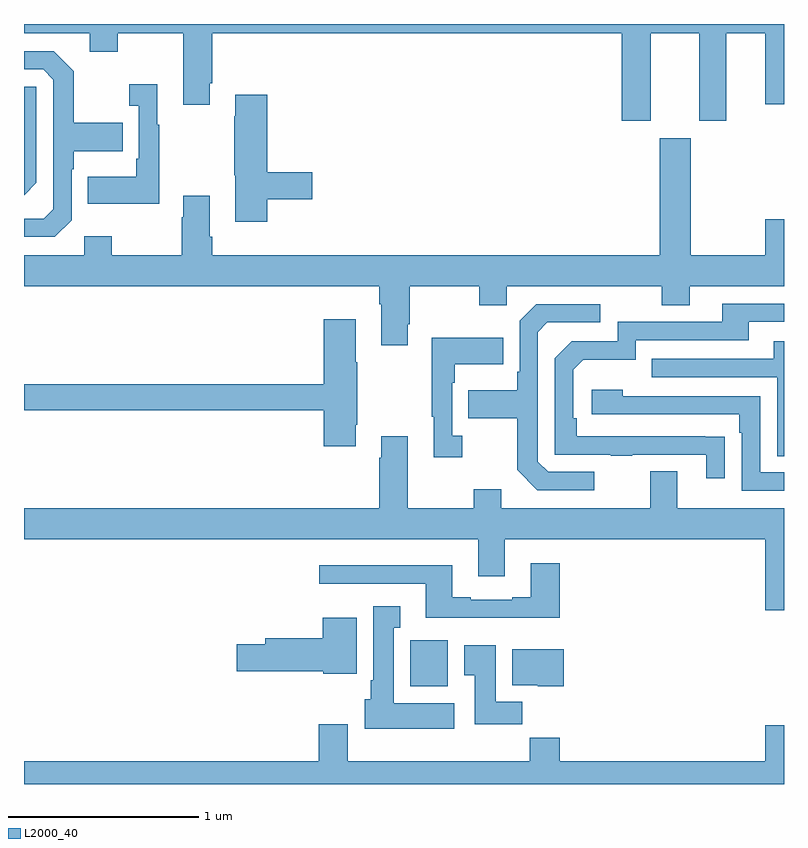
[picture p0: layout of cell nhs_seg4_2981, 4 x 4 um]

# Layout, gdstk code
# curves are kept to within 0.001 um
import gdstk
lib = gdstk.Library(unit=1e-6, precision=1e-09)
def R(c, l, rs):  # rectangles x0, y0, x1, y1
    for r in rs: c.add(gdstk.rectangle(r[:2], r[2:], *l))
def P(c, l, *ps):  # polygons
    for p in ps: c.add(gdstk.Polygon(p, *l))
L2000_40 = (2000, 40)

nhs_seg4_2981 = lib.new_cell('nhs_seg4_2981')
R(nhs_seg4_2981, L2000_40, [(271.034,761.414,271.231,761.656)])
P(nhs_seg4_2981, L2000_40, [(269,764.852),(269.345,764.852),(269.345,764.753),(269.493,764.753),(269.493,764.852),(269.837,764.852),(269.837,764.475),(269.977,764.475),(269.977,764.587),(269.99,764.587),(269.99,764.852),(272.147,764.852),(272.147,764.391),(272.299,764.391),(272.299,764.852),(272.555,764.852),(272.555,764.391),(272.695,764.391),(272.695,764.852),(272.9,764.852),(272.9,764.478),(273,764.478),(273,764.9),(269,764.9)],
  [(269.25,763.866),(269.25,764.135),(269.263,764.135),(269.263,764.231),(269.519,764.231),(269.519,764.379),(269.263,764.379),(269.263,764.651),(269.157,764.757),(269,764.757),(269,764.661),(269.1,764.661),(269.154,764.607),(269.154,763.926),(269.103,763.875),(269,763.875),(269,763.779),(269.163,763.779)],
  [(269.713,764.371),(269.701,764.371),(269.701,764.584),(269.553,764.584),(269.553,764.471),(269.604,764.471),(269.604,764.191),(269.592,764.191),(269.592,764.095),(269.335,764.095),(269.335,763.955),(269.713,763.955)],
  [(269.064,764.064),(269.064,764.571),(269,764.571),(269,764)],
  [(270.281,763.978),(270.517,763.978),(270.517,764.12),(270.281,764.12),(270.281,764.527),(270.113,764.527),(270.113,764.414),(270.106,764.414),(270.106,764.103),(270.113,764.103),(270.113,763.86),(270.281,763.86)],
  [(271.021,763.321),(271.029,763.321),(271.029,763.52),(271.396,763.52),(271.396,763.421),(271.542,763.421),(271.542,763.52),(272.356,763.52),(272.356,763.421),(272.503,763.421),(272.503,763.52),(273,763.52),(273,763.873),(272.9,763.873),(272.9,763.684),(272.509,763.684),(272.509,764.299),(272.345,764.299),(272.345,763.684),(269.99,763.684),(269.99,763.78),(269.977,763.78),(269.977,763.996),(269.837,763.996),(269.837,763.883),(269.83,763.883),(269.83,763.684),(269.463,763.684),(269.463,763.783),(269.316,763.783),(269.316,763.684),(269,763.684),(269,763.52),(270.869,763.52),(270.869,763.424),(270.881,763.424),(270.881,763.209),(271.021,763.209)],
  [(272.687,762.728),(271.91,762.729),(271.91,762.826),(271.89,762.826),(271.89,763.08),(271.943,763.133),(272.22,763.133),(272.22,763.236),(272.815,763.236),(272.815,763.332),(273,763.332),(273,763.428),(272.675,763.428),(272.675,763.332),(272.124,763.332),(272.124,763.23),(271.884,763.23),(271.794,763.14),(271.794,762.633),(272.089,762.633),(272.089,762.628),(272.201,762.628),(272.201,762.633),(272.591,762.633),(272.591,762.51),(272.687,762.51)],
  [(272.002,762.543),(271.758,762.543),(271.704,762.597),(271.704,763.278),(271.755,763.329),(272.032,763.329),(272.032,763.425),(271.695,763.425),(271.608,763.338),(271.608,763.069),(271.596,763.069),(271.596,762.973),(271.339,762.973),(271.339,762.826),(271.596,762.826),(271.596,762.553),(271.701,762.447),(272.002,762.447)],
  [(270.745,762.79),(270.753,762.79),(270.753,763.121),(270.745,763.121),(270.745,763.345),(270.578,763.345),(270.578,763.004),(269,763.004),(269,762.868),(270.578,762.868),(270.578,762.678),(270.745,762.678)],
  [(271.306,762.734),(271.254,762.734),(271.254,763.013),(271.267,763.013),(271.267,763.109),(271.523,763.109),(271.523,763.249),(271.146,763.249),(271.146,762.833),(271.157,762.833),(271.157,762.621),(271.306,762.621)],
  [(273,763.231),(272.945,763.231),(272.945,763.137),(272.305,763.137),(272.305,763.041),(272.964,763.041),(272.964,762.625),(273,762.625)],
  [(273,762.54),(272.874,762.54),(272.874,762.942),(272.15,762.942),(272.15,762.976),(271.989,762.976),(271.989,762.846),(272.765,762.846),(272.765,762.749),(272.778,762.749),(272.778,762.444),(273,762.444)],
  [(273,762.352),(272.437,762.352),(272.437,762.547),(272.297,762.547),(272.297,762.352),(271.513,762.352),(271.513,762.451),(271.366,762.451),(271.366,762.352),(271.021,762.352),(271.021,762.73),(270.881,762.73),(270.881,762.617),(270.869,762.617),(270.869,762.352),(269,762.352),(269,762.188),(271.391,762.188),(271.391,761.994),(271.531,761.994),(271.531,762.188),(272.9,762.188),(272.9,761.814),(273,761.814)],
  [(271.82,762.061),(271.667,762.061),(271.667,761.884),(271.571,761.884),(271.571,761.871),(271.351,761.871),(271.351,761.884),(271.255,761.884),(271.255,762.052),(270.555,762.052),(270.555,761.955),(271.115,761.955),(271.115,761.774),(271.82,761.774)],
  [(271.264,761.326),(270.946,761.326),(270.946,761.723),(270.979,761.723),(270.979,761.836),(270.839,761.836),(270.839,761.446),(270.824,761.446),(270.824,761.346),(270.794,761.346),(270.794,761.192),(271.264,761.192)],
  [(270.751,761.776),(270.572,761.776),(270.572,761.666),(270.269,761.666),(270.269,761.636),(270.12,761.636),(270.12,761.494),(270.576,761.494),(270.576,761.48),(270.751,761.48)],
  [(271.622,761.332),(271.483,761.332),(271.483,761.629),(271.316,761.629),(271.316,761.473),(271.373,761.473),(271.373,761.214),(271.622,761.214)],
  [(271.84,761.608),(271.571,761.608),(271.571,761.42),(271.704,761.42),(271.704,761.414),(271.84,761.414)],
  [(269,760.9),(273,760.9),(273,761.209),(272.9,761.209),(272.9,761.02),(271.82,761.02),(271.82,761.144),(271.663,761.144),(271.663,761.02),(270.703,761.02),(270.703,761.215),(270.551,761.215),(270.551,761.02),(269,761.02)])

lib.write_gds('nhs_seg4_2981.gds')
